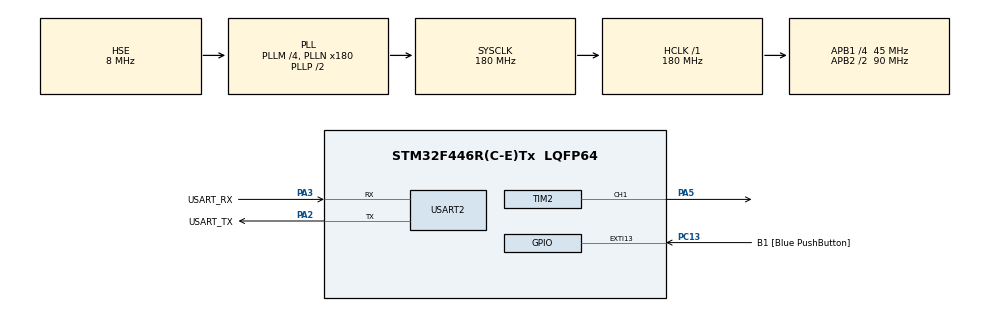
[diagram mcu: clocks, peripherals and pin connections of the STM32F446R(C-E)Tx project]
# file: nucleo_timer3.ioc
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Mcu.Family=STM32F4
Mcu.Name=STM32F446R(C-E)Tx
Mcu.Package=LQFP64
NVIC.PriorityGroup=NVIC_PRIORITYGROUP_0
PA13.GPIO_Label=TMS
PA13.Mode=Serial_Wire
PA13.Signal=SYS_JTMS-SWDIO
PA14.GPIO_Label=TCK
PA14.Mode=Serial_Wire
PA14.Signal=SYS_JTCK-SWCLK
PA2.GPIO_Label=USART_TX
PA2.Mode=Asynchronous
PA2.Signal=USART2_TX
PA3.GPIO_Label=USART_RX
PA3.Mode=Asynchronous
PA3.Signal=USART2_RX
PA5.Signal=S_TIM2_CH1_ETR
PB3.GPIO_Label=SWO
PB3.Signal=SYS_JTDO-SWO
PC13.GPIO_Label=B1 [Blue PushButton]
PC13.GPIO_ModeDefaultEXTI=GPIO_MODE_IT_FALLING
PC13.Signal=GPXTI13
PC14-OSC32_IN.Mode=LSE-External-Oscillator
PC14-OSC32_IN.Signal=RCC_OSC32_IN
PC15-OSC32_OUT.Mode=LSE-External-Oscillator
PC15-OSC32_OUT.Signal=RCC_OSC32_OUT
PH0-OSC_IN.Mode=HSE-External-Oscillator
PH0-OSC_IN.Signal=RCC_OSC_IN
PH1-OSC_OUT.Mode=HSE-External-Oscillator
PH1-OSC_OUT.Signal=RCC_OSC_OUT
ProjectManager.HeapSize=0x200
ProjectManager.StackSize=0x400
ProjectManager.TargetToolchain=STM32CubeIDE
RCC.48MHZClocksFreq_Value=84000000
RCC.AHBFreq_Value=180000000
RCC.APB1CLKDivider=RCC_HCLK_DIV4
RCC.APB1Freq_Value=45000000
RCC.APB1TimFreq_Value=90000000
RCC.APB2CLKDivider=RCC_HCLK_DIV2
RCC.APB2Freq_Value=90000000
RCC.APB2TimFreq_Value=180000000
RCC.CortexFreq_Value=180000000
RCC.FLatency-AdvancedSettings=FLASH_LATENCY_5
RCC.HCLKFreq_Value=180000000
RCC.HSE_VALUE=8000000
RCC.HSI_VALUE=16000000
RCC.PLLM=4
RCC.PLLN=180
RCC.PLLSourceVirtual=RCC_PLLSOURCE_HSE
RCC.SYSCLKFreq_VALUE=180000000
RCC.SYSCLKSource=RCC_SYSCLKSOURCE_PLLCLK
RCC.USBFreq_Value=180000000
RCC.VCOOutputFreq_Value=360000000
SH.S_TIM2_CH1_ETR.0=TIM2_CH1,PWM Generation1 CH1
TIM2.Channel-PWM\ Generation1\ CH1=TIM_CHANNEL_1
TIM2.Period=999
TIM2.Prescaler=899
TIM2.Pulse-PWM\ Generation1\ CH1=0
USART2.VirtualMode=VM_ASYNC
VP_TIM2_VS_ClockSourceINT.Mode=Internal
board=NUCLEO-F446RE

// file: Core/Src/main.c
/* USER CODE BEGIN Header */
/**
  ******************************************************************************
  * @file           : main.c
  * @brief          : Main program body
  ******************************************************************************
  * @attention
  *
  * Copyright (c) 2025 STMicroelectronics.
  * All rights reserved.
  *
  * This software is licensed under terms that can be found in the LICENSE file
  * in the root directory of this software component.
  * If no LICENSE file comes with this software, it is provided AS-IS.
  *
  ******************************************************************************
  */
/* USER CODE END Header */
#include "main.h"

/* USER CODE BEGIN Includes */
#include <stdio.h>
/* USER CODE END Includes */

/* USER CODE BEGIN PD */
#define TICK_DELAY 1000
/* USER CODE END PD */

TIM_HandleTypeDef htim2;

UART_HandleTypeDef huart2;

void SystemClock_Config(void);
static void MX_GPIO_Init(void);
static void MX_USART2_UART_Init(void);
static void MX_TIM2_Init(void);

/* USER CODE BEGIN 0 */
int _write(int fd, char* ptr, int len) {
  HAL_StatusTypeDef hstatus;

  if (fd == 1 || fd == 2) {
    hstatus = HAL_UART_Transmit(&huart2, (uint8_t *) ptr, len, HAL_MAX_DELAY);
    if (hstatus == HAL_OK)
      return len;
    else
      return -1;
  }
  return -1;
}
/* USER CODE END 0 */

int main(void)
{

  /* MCU Configuration--------------------------------------------------------*/

  /* Reset of all peripherals, Initializes the Flash interface and the Systick. */
  HAL_Init();

  /* Configure the system clock */
  SystemClock_Config();

  /* Initialize all configured peripherals */
  MX_GPIO_Init();
  MX_USART2_UART_Init();
  MX_TIM2_Init();
  /* USER CODE BEGIN 2 */
  HAL_TIM_PWM_Start(&htim2, TIM_CHANNEL_1);
  printf("\n\n\nStarting nucleo_timer2\n");
  /* USER CODE END 2 */

  /* Infinite loop */
  /* USER CODE BEGIN WHILE */
  uint16_t pwm_value = 0;
  int8_t pwm_change = 1;
  uint32_t now = 0, next_tick = TICK_DELAY, loop_cnt = 0, next_change = 0;
  while (1)
  {
	  now = HAL_GetTick();

	  	  if (now >= next_tick){
	  		  printf("Tick %lu (Loop Count %lu)\n",now / 1000, loop_cnt);
	  		  loop_cnt = 0;
	  		  next_tick = now + TICK_DELAY;
	  	  }

	  	  if (now >= next_change){
	  		  __HAL_TIM_SET_COMPARE(&htim2,TIM_CHANNEL_1,pwm_value);

	  		  pwm_value += pwm_change;

	  		  if (pwm_value == 0) pwm_change = 1;
	  		  else if (pwm_value == 1000) pwm_change = -1;

	  		  next_change = now + 1;
	  	  }

	  	  ++loop_cnt;
    /* USER CODE END WHILE */

  }
}

void SystemClock_Config(void)
{
  RCC_OscInitTypeDef RCC_OscInitStruct = {0};
  RCC_ClkInitTypeDef RCC_ClkInitStruct = {0};

  /** Configure the main internal regulator output voltage
  */
  __HAL_RCC_PWR_CLK_ENABLE();
  __HAL_PWR_VOLTAGESCALING_CONFIG(PWR_REGULATOR_VOLTAGE_SCALE1);

  /** Initializes the RCC Oscillators according to the specified parameters
  * in the RCC_OscInitTypeDef structure.
  */
  RCC_OscInitStruct.OscillatorType = RCC_OSCILLATORTYPE_HSE;
  RCC_OscInitStruct.HSEState = RCC_HSE_ON;
  RCC_OscInitStruct.PLL.PLLState = RCC_PLL_ON;
  RCC_OscInitStruct.PLL.PLLSource = RCC_PLLSOURCE_HSE;
  RCC_OscInitStruct.PLL.PLLM = 4;
  RCC_OscInitStruct.PLL.PLLN = 180;
  RCC_OscInitStruct.PLL.PLLP = RCC_PLLP_DIV2;
  RCC_OscInitStruct.PLL.PLLQ = 2;
  RCC_OscInitStruct.PLL.PLLR = 2;
  if (HAL_RCC_OscConfig(&RCC_OscInitStruct) != HAL_OK)
  {
    Error_Handler();
  }

  /** Activate the Over-Drive mode
  */
  if (HAL_PWREx_EnableOverDrive() != HAL_OK)
  {
    Error_Handler();
  }

  /** Initializes the CPU, AHB and APB buses clocks
  */
  RCC_ClkInitStruct.ClockType = RCC_CLOCKTYPE_HCLK|RCC_CLOCKTYPE_SYSCLK
                              |RCC_CLOCKTYPE_PCLK1|RCC_CLOCKTYPE_PCLK2;
  RCC_ClkInitStruct.SYSCLKSource = RCC_SYSCLKSOURCE_PLLCLK;
  RCC_ClkInitStruct.AHBCLKDivider = RCC_SYSCLK_DIV1;
  RCC_ClkInitStruct.APB1CLKDivider = RCC_HCLK_DIV4;
  RCC_ClkInitStruct.APB2CLKDivider = RCC_HCLK_DIV2;

  if (HAL_RCC_ClockConfig(&RCC_ClkInitStruct, FLASH_LATENCY_5) != HAL_OK)
  {
    Error_Handler();
  }
}

static void MX_TIM2_Init(void)
{

  TIM_ClockConfigTypeDef sClockSourceConfig = {0};
  TIM_MasterConfigTypeDef sMasterConfig = {0};
  TIM_OC_InitTypeDef sConfigOC = {0};

  htim2.Instance = TIM2;
  htim2.Init.Prescaler = 899;
  htim2.Init.CounterMode = TIM_COUNTERMODE_UP;
  htim2.Init.Period = 999;
  htim2.Init.ClockDivision = TIM_CLOCKDIVISION_DIV1;
  htim2.Init.AutoReloadPreload = TIM_AUTORELOAD_PRELOAD_DISABLE;
  if (HAL_TIM_Base_Init(&htim2) != HAL_OK)
  {
    Error_Handler();
  }
  sClockSourceConfig.ClockSource = TIM_CLOCKSOURCE_INTERNAL;
  if (HAL_TIM_ConfigClockSource(&htim2, &sClockSourceConfig) != HAL_OK)
  {
    Error_Handler();
  }
  if (HAL_TIM_PWM_Init(&htim2) != HAL_OK)
  {
    Error_Handler();
  }
  sMasterConfig.MasterOutputTrigger = TIM_TRGO_RESET;
  sMasterConfig.MasterSlaveMode = TIM_MASTERSLAVEMODE_DISABLE;
  if (HAL_TIMEx_MasterConfigSynchronization(&htim2, &sMasterConfig) != HAL_OK)
  {
    Error_Handler();
  }
  sConfigOC.OCMode = TIM_OCMODE_PWM1;
  sConfigOC.Pulse = 0;
  sConfigOC.OCPolarity = TIM_OCPOLARITY_HIGH;
  sConfigOC.OCFastMode = TIM_OCFAST_DISABLE;
  if (HAL_TIM_PWM_ConfigChannel(&htim2, &sConfigOC, TIM_CHANNEL_1) != HAL_OK)
  {
    Error_Handler();
  }
  HAL_TIM_MspPostInit(&htim2);

}

static void MX_USART2_UART_Init(void)
{

  huart2.Instance = USART2;
  huart2.Init.BaudRate = 115200;
  huart2.Init.WordLength = UART_WORDLENGTH_8B;
  huart2.Init.StopBits = UART_STOPBITS_1;
  huart2.Init.Parity = UART_PARITY_NONE;
  huart2.Init.Mode = UART_MODE_TX_RX;
  huart2.Init.HwFlowCtl = UART_HWCONTROL_NONE;
  huart2.Init.OverSampling = UART_OVERSAMPLING_16;
  if (HAL_UART_Init(&huart2) != HAL_OK)
  {
    Error_Handler();
  }

}

static void MX_GPIO_Init(void)
{
  GPIO_InitTypeDef GPIO_InitStruct = {0};

  /* GPIO Ports Clock Enable */
  __HAL_RCC_GPIOC_CLK_ENABLE();
  __HAL_RCC_GPIOH_CLK_ENABLE();
  __HAL_RCC_GPIOA_CLK_ENABLE();
  __HAL_RCC_GPIOB_CLK_ENABLE();

  /*Configure GPIO pin : B1_Pin */
  GPIO_InitStruct.Pin = B1_Pin;
  GPIO_InitStruct.Mode = GPIO_MODE_IT_FALLING;
  GPIO_InitStruct.Pull = GPIO_NOPULL;
  HAL_GPIO_Init(B1_GPIO_Port, &GPIO_InitStruct);

}

void Error_Handler(void)
{
  __disable_irq();
  while (1)
  {
  }
}
